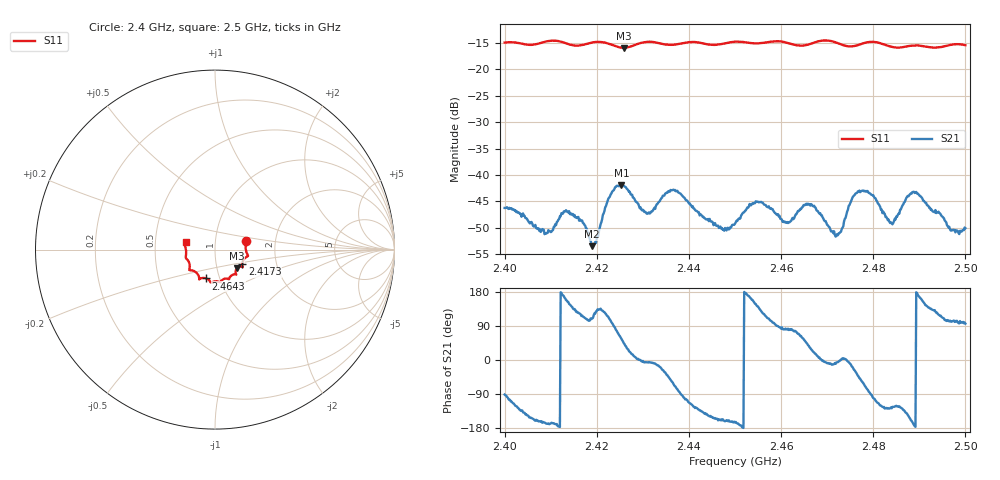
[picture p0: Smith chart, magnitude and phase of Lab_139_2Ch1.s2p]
# Hz S RI R 50
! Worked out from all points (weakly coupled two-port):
!   601 points, 2.4 GHz to 2.5 GHz, reference 50 ohm
!   highest |S21| = -41.90 dB at 2.4253 GHz (marker M1); lowest = -53.5 dB at 2.419 GHz (marker M2)
!   lowest |S11| = -15.9 dB at 2.4258 GHz (marker M3), VSWR 1.38, Z = 62.4 - j13.3 ohm
!   |S11| at or under -10 dB: start of sweep to end of sweep
!   S12 and S22 are empty: the file has one direction only
!   S11 on the Smith chart (normalised r, x): 2.4 GHz: 1.41, +0.14; 2.4173 GHz: 1.34, -0.23; 2.4643 GHz: 0.86, -0.28; 2.5 GHz: 0.72, +0.06
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2.4e9  0.173 0.0489  -9.98e-05 -0.00486  0 0  0 0
2.409167e9  0.1824 -0.0297  -0.00275 -0.000584  0 0  0 0
2.412833e9  0.1755 -0.0409  -0.00442 0.000865  0 0  0 0
2.416667e9  0.1527 -0.0744  -0.00161 0.00331  0 0  0 0
2.417333e9  0.1519 -0.082  -0.00126 0.00312  0 0  0 0
2.419e9  0.1528 -0.0952  -0.0007 0.00199  0 0  0 0
2.425333e9  0.1258 -0.1001  0.00448 0.00667  0 0  0 0
2.425833e9  0.1222 -0.1036  0.00558 0.00561  0 0  0 0
2.430667e9  0.1183 -0.1385  0.00438 -0.00045  0 0  0 0
2.433333e9  0.1129 -0.1376  0.0053 -0.00133  0 0  0 0
2.437e9  0.0869 -0.1484  0.00256 -0.00672  0 0  0 0
2.447e9  0.0402 -0.1691  -0.00285 -0.00122  0 0  0 0
2.45e9  0.0288 -0.1809  -0.00332 -0.000923  0 0  0 0
2.4545e9  0.00587 -0.1763  -0.00475 0.003  0 0  0 0
2.461167e9  -0.027 -0.1776  0.000562 0.00347  0 0  0 0
2.464333e9  -0.0498 -0.1604  0.00212 0.00423  0 0  0 0
2.466667e9  -0.0758 -0.1592  0.00467 0.00234  0 0  0 0
2.471833e9  -0.0882 -0.1577  0.00256 -0.000453  0 0  0 0
2.477167e9  -0.1285 -0.1158  0.00447 -0.0052  0 0  0 0
2.483333e9  -0.1406 -0.0896  -0.00232 -0.00297  0 0  0 0
2.489e9  -0.1626 -0.0458  -0.0067 -0.000661  0 0  0 0
2.5e9  -0.1642 0.0429  -0.000331 0.00311  0 0  0 0
